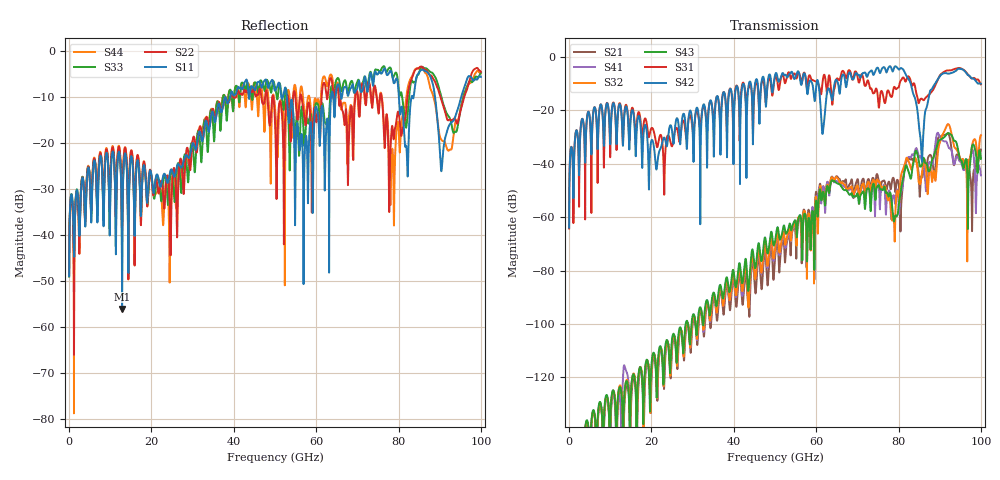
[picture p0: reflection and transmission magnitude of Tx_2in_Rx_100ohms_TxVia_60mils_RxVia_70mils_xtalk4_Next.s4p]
! Info: Touchstone file created by Circ.  Input file=Tx_2in_Rx_100ohms_TxVia_60mils_RxVia_70mils.circ
# Hz S RI R 50
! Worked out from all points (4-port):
!   10000 points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, 10 MHz to 100 GHz, reference 50 ohm
!   strongest paths, dB at 10 MHz, 25.01 GHz, 50.01 GHz, 75.01 GHz, 100 GHz:
!     S42: -63.9, -27.8, -6.9, -4.2, -10.0
!     S31: -64.3, -33.5, -7.7, -15.6, -10.3
!     S43: -159.0, -105.7, -69.1, -48.2, -38.2
!     S32: -194.1, -107.3, -71.9, -46.5, -29.3
!     S41: -160.8, -107.7, -72.7, -46.6, -44.4
!     S21: -195.3, -109.5, -75.4, -45.0, -34.7
!   lowest |S11| = -56.1 dB at 12.88 GHz (marker M1), VSWR 1.00, Z = 49.8 + j0.0424 ohm
!   |S11| at or under -10 dB: start of sweep to 37.86 GHz; 52.88 GHz to 63.61 GHz (10.73 GHz wide, 18.4 % of centre); 88.87 GHz to 95.21 GHz (6.334 GHz wide, 6.88 % of centre) (the widest 3 of 10)
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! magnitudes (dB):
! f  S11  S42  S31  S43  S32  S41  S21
! 10 MHz  -48.9  -63.9  -64.3  -159.0  -194.1  -160.8  -195.3
! 3.17 GHz  -27.7  -23.2  -23.2  -144.5  -145.0  -144.8  -145.4
! 12.88 GHz  -56.1  -25.4  -25.5  -129.6  -128.1  -128.6  -128.5
! 79.37 GHz  -6.0  -3.6  -12.1  -59.5  -53.9  -52.7  -48.9
! 85.59 GHz  -4.1  -36.8  -15.6  -40.8  -44.6  -38.2  -44.5
! 90.47 GHz  -25.8  -6.5  -6.2  -30.7  -30.0  -31.0  -29.5
! 100 GHz  -5.6  -10.0  -10.3  -38.2  -29.3  -44.4  -34.7
